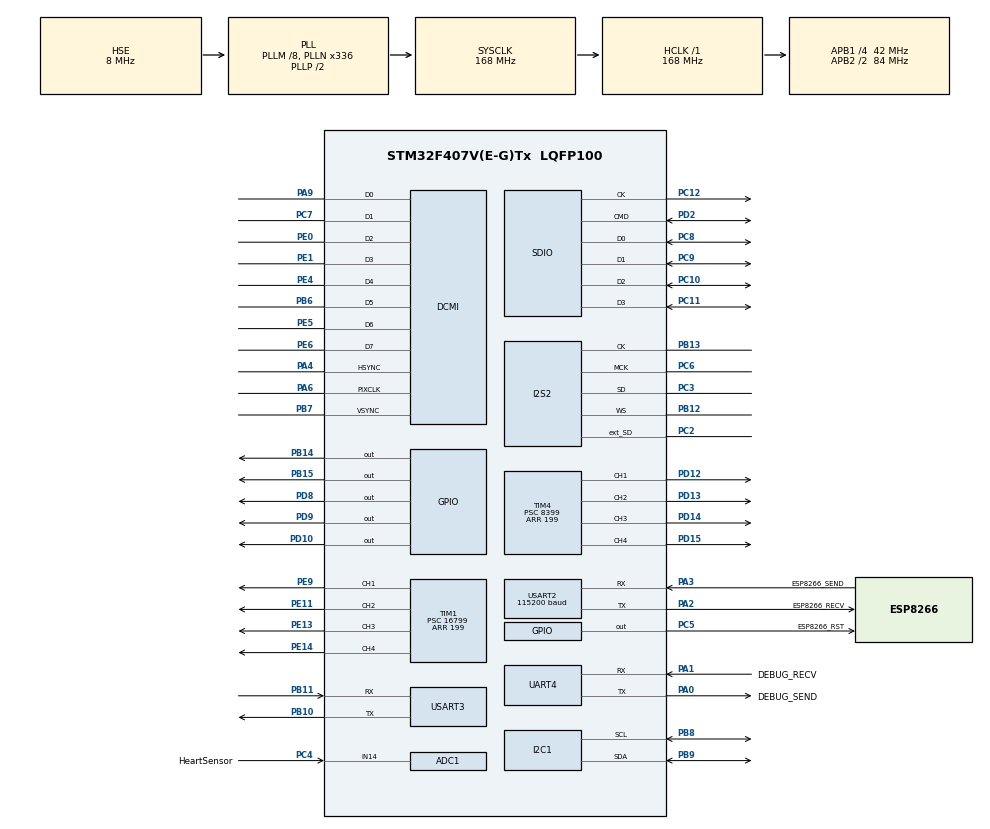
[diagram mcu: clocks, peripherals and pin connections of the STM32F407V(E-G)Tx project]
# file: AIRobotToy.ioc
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ADC1.Channel-1\#ChannelRegularConversion=ADC_CHANNEL_14
ADC1.NbrOfConversionFlag=1
ADC1.Rank-1\#ChannelRegularConversion=1
ADC1.SamplingTime-1\#ChannelRegularConversion=ADC_SAMPLETIME_3CYCLES
ADC1.master=1
Dma.DCMI.2.Direction=DMA_PERIPH_TO_MEMORY
Dma.DCMI.2.FIFOMode=DMA_FIFOMODE_DISABLE
Dma.DCMI.2.Instance=DMA2_Stream1
Dma.DCMI.2.MemDataAlignment=DMA_MDATAALIGN_WORD
Dma.DCMI.2.MemInc=DMA_MINC_ENABLE
Dma.DCMI.2.Mode=DMA_NORMAL
Dma.DCMI.2.PeriphDataAlignment=DMA_PDATAALIGN_WORD
Dma.DCMI.2.PeriphInc=DMA_PINC_DISABLE
Dma.DCMI.2.Priority=DMA_PRIORITY_LOW
Dma.Request0=USART2_RX
Dma.Request1=USART2_TX
Dma.Request2=DCMI
Dma.Request3=SDIO_RX
Dma.Request4=SDIO_TX
Dma.SDIO_RX.3.Direction=DMA_PERIPH_TO_MEMORY
Dma.SDIO_RX.3.FIFOMode=DMA_FIFOMODE_ENABLE
Dma.SDIO_RX.3.FIFOThreshold=DMA_FIFO_THRESHOLD_FULL
Dma.SDIO_RX.3.Instance=DMA2_Stream3
Dma.SDIO_RX.3.MemBurst=DMA_MBURST_INC4
Dma.SDIO_RX.3.MemDataAlignment=DMA_MDATAALIGN_WORD
Dma.SDIO_RX.3.MemInc=DMA_MINC_ENABLE
Dma.SDIO_RX.3.Mode=DMA_PFCTRL
Dma.SDIO_RX.3.PeriphBurst=DMA_PBURST_INC4
Dma.SDIO_RX.3.PeriphDataAlignment=DMA_PDATAALIGN_WORD
Dma.SDIO_RX.3.PeriphInc=DMA_PINC_DISABLE
Dma.SDIO_RX.3.Priority=DMA_PRIORITY_LOW
Dma.SDIO_TX.4.Direction=DMA_MEMORY_TO_PERIPH
Dma.SDIO_TX.4.FIFOMode=DMA_FIFOMODE_ENABLE
Dma.SDIO_TX.4.FIFOThreshold=DMA_FIFO_THRESHOLD_FULL
Dma.SDIO_TX.4.Instance=DMA2_Stream6
Dma.SDIO_TX.4.MemBurst=DMA_MBURST_INC4
Dma.SDIO_TX.4.MemDataAlignment=DMA_MDATAALIGN_WORD
Dma.SDIO_TX.4.MemInc=DMA_MINC_ENABLE
Dma.SDIO_TX.4.Mode=DMA_PFCTRL
Dma.SDIO_TX.4.PeriphBurst=DMA_PBURST_INC4
Dma.SDIO_TX.4.PeriphDataAlignment=DMA_PDATAALIGN_WORD
Dma.SDIO_TX.4.PeriphInc=DMA_PINC_DISABLE
Dma.SDIO_TX.4.Priority=DMA_PRIORITY_LOW
Dma.USART2_RX.0.Direction=DMA_PERIPH_TO_MEMORY
Dma.USART2_RX.0.FIFOMode=DMA_FIFOMODE_DISABLE
Dma.USART2_RX.0.Instance=DMA1_Stream5
Dma.USART2_RX.0.MemDataAlignment=DMA_MDATAALIGN_BYTE
Dma.USART2_RX.0.MemInc=DMA_MINC_ENABLE
Dma.USART2_RX.0.Mode=DMA_CIRCULAR
Dma.USART2_RX.0.PeriphDataAlignment=DMA_PDATAALIGN_BYTE
Dma.USART2_RX.0.PeriphInc=DMA_PINC_DISABLE
Dma.USART2_RX.0.Priority=DMA_PRIORITY_MEDIUM
Dma.USART2_TX.1.Direction=DMA_MEMORY_TO_PERIPH
Dma.USART2_TX.1.FIFOMode=DMA_FIFOMODE_DISABLE
Dma.USART2_TX.1.Instance=DMA1_Stream6
Dma.USART2_TX.1.MemDataAlignment=DMA_MDATAALIGN_BYTE
Dma.USART2_TX.1.MemInc=DMA_MINC_ENABLE
Dma.USART2_TX.1.Mode=DMA_NORMAL
Dma.USART2_TX.1.PeriphDataAlignment=DMA_PDATAALIGN_BYTE
Dma.USART2_TX.1.PeriphInc=DMA_PINC_DISABLE
Dma.USART2_TX.1.Priority=DMA_PRIORITY_MEDIUM
FATFS._CODE_PAGE=936
FATFS._USE_LFN=2
I2S2.ErrorAudioFreq=-0.27 %
I2S2.FullDuplexMode=I2S_FULLDUPLEXMODE_ENABLE
I2S2.Instance=SPI$Index
I2S2.RealAudioFreq=7.978 KHz
I2S2.VirtualMode=I2S_MODE_MASTER
Mcu.Family=STM32F4
Mcu.Name=STM32F407V(E-G)Tx
Mcu.Package=LQFP100
NVIC.DCMI_IRQn=true\:0\:0\:false\:false\:true\:true\:true
NVIC.DMA1_Stream5_IRQn=true\:0\:0\:false\:false\:true\:false\:true
NVIC.DMA1_Stream6_IRQn=true\:0\:0\:false\:false\:true\:false\:true
NVIC.DMA2_Stream1_IRQn=true\:0\:0\:false\:false\:true\:false\:true
NVIC.DMA2_Stream3_IRQn=true\:0\:0\:false\:false\:true\:false\:true
NVIC.DMA2_Stream6_IRQn=true\:0\:0\:false\:false\:true\:false\:true
NVIC.PriorityGroup=NVIC_PRIORITYGROUP_4
NVIC.SDIO_IRQn=true\:0\:0\:false\:false\:true\:true\:true
NVIC.USART2_IRQn=true\:0\:0\:false\:false\:true\:true\:true
PA0-WKUP.GPIO_Label=DEBUG_SEND
PA0-WKUP.Mode=Asynchronous
PA0-WKUP.Signal=UART4_TX
PA1.GPIO_Label=DEBUG_RECV
PA1.Mode=Asynchronous
PA1.Signal=UART4_RX
PA13.Mode=Serial_Wire
PA13.Signal=SYS_JTMS-SWDIO
PA14.Mode=Serial_Wire
PA14.Signal=SYS_JTCK-SWCLK
PA2.GPIO_Label=ESP8266_RECV
PA2.Mode=Asynchronous
PA2.Signal=USART2_TX
PA3.GPIO_Label=ESP8266_SEND
PA3.Mode=Asynchronous
PA3.Signal=USART2_RX
PA4.Mode=Slave_8_bits_External_Synchro
PA4.Signal=DCMI_HSYNC
PA6.Mode=Slave_8_bits_External_Synchro
PA6.Signal=DCMI_PIXCLK
PA9.Mode=Slave_8_bits_External_Synchro
PA9.Signal=DCMI_D0
PB10.Mode=Asynchronous
PB10.Signal=USART3_TX
PB11.Mode=Asynchronous
PB11.Signal=USART3_RX
PB12.Mode=Full_Duplex_Master
PB12.Signal=I2S2_WS
PB13.Mode=Full_Duplex_Master
PB13.Signal=I2S2_CK
PB14.PinState=GPIO_PIN_SET
PB14.Signal=GPIO_Output
PB15.PinState=GPIO_PIN_SET
PB15.Signal=GPIO_Output
PB6.Mode=Slave_8_bits_External_Synchro
PB6.Signal=DCMI_D5
PB7.Mode=Slave_8_bits_External_Synchro
PB7.Signal=DCMI_VSYNC
PB8.Mode=I2C
PB8.Signal=I2C1_SCL
PB9.Mode=I2C
PB9.Signal=I2C1_SDA
PC10.Mode=SD_4_bits_Wide_bus
PC10.Signal=SDIO_D2
PC11.Mode=SD_4_bits_Wide_bus
PC11.Signal=SDIO_D3
PC12.Mode=SD_4_bits_Wide_bus
PC12.Signal=SDIO_CK
PC2.Mode=Full_Duplex_Master
PC2.Signal=I2S2_ext_SD
PC3.Mode=Full_Duplex_Master
PC3.Signal=I2S2_SD
PC4.GPIO_Label=HeartSensor
PC4.Signal=ADCx_IN14
PC5.GPIO_Label=ESP8266_RST
PC5.Signal=GPIO_Output
PC6.Mode=Master_Clock_Activated
PC6.Signal=I2S2_MCK
PC7.Mode=Slave_8_bits_External_Synchro
PC7.Signal=DCMI_D1
PC8.Mode=SD_4_bits_Wide_bus
PC8.Signal=SDIO_D0
PC9.Mode=SD_4_bits_Wide_bus
PC9.Signal=SDIO_D1
PD10.PinState=GPIO_PIN_SET
PD10.Signal=GPIO_Output
PD12.GPIO_PuPd=GPIO_NOPULL
PD12.GPIO_Speed=GPIO_SPEED_FREQ_LOW
PD12.Signal=S_TIM4_CH1
PD13.Signal=S_TIM4_CH2
PD14.Signal=S_TIM4_CH3
PD15.Signal=S_TIM4_CH4
PD2.Mode=SD_4_bits_Wide_bus
PD2.Signal=SDIO_CMD
PD8.Signal=GPIO_Output
PD9.Signal=GPIO_Output
PE0.Mode=Slave_8_bits_External_Synchro
PE0.Signal=DCMI_D2
PE1.Mode=Slave_8_bits_External_Synchro
PE1.Signal=DCMI_D3
PE11.Signal=S_TIM1_CH2
PE13.Signal=S_TIM1_CH3
PE14.Signal=S_TIM1_CH4
PE4.Mode=Slave_8_bits_External_Synchro
PE4.Signal=DCMI_D4
PE5.Mode=Slave_8_bits_External_Synchro
PE5.Signal=DCMI_D6
PE6.Mode=Slave_8_bits_External_Synchro
PE6.Signal=DCMI_D7
PE9.Signal=S_TIM1_CH1
PH0-OSC_IN.Mode=HSE-External-Oscillator
PH0-OSC_IN.Signal=RCC_OSC_IN
PH1-OSC_OUT.Mode=HSE-External-Oscillator
PH1-OSC_OUT.Signal=RCC_OSC_OUT
ProjectManager.HeapSize=0x1000
ProjectManager.StackSize=0x4000
ProjectManager.TargetToolchain=Makefile
RCC.48MHZClocksFreq_Value=48000000
RCC.AHBFreq_Value=168000000
RCC.APB1CLKDivider=RCC_HCLK_DIV4
RCC.APB1Freq_Value=42000000
RCC.APB1TimFreq_Value=84000000
RCC.APB2CLKDivider=RCC_HCLK_DIV2
RCC.APB2Freq_Value=84000000
RCC.APB2TimFreq_Value=168000000
RCC.CortexFreq_Value=168000000
RCC.HCLKFreq_Value=168000000
RCC.HSE_VALUE=8000000
RCC.HSI_VALUE=16000000
RCC.LSE_VALUE=32768
RCC.PLLM=8
RCC.PLLN=336
RCC.PLLQ=7
RCC.PLLSourceVirtual=RCC_PLLSOURCE_HSE
RCC.SYSCLKFreq_VALUE=168000000
RCC.SYSCLKSource=RCC_SYSCLKSOURCE_PLLCLK
RCC.VCOOutputFreq_Value=336000000
SDIO.ClockDiv=4
SH.ADCx_IN14.0=ADC1_IN14,IN14
SH.S_TIM1_CH1.0=TIM1_CH1,PWM Generation1 CH1
SH.S_TIM1_CH2.0=TIM1_CH2,PWM Generation2 CH2
SH.S_TIM1_CH3.0=TIM1_CH3,PWM Generation3 CH3
SH.S_TIM1_CH4.0=TIM1_CH4,PWM Generation4 CH4
SH.S_TIM4_CH1.0=TIM4_CH1,PWM Generation1 CH1
SH.S_TIM4_CH2.0=TIM4_CH2,PWM Generation2 CH2
SH.S_TIM4_CH3.0=TIM4_CH3,PWM Generation3 CH3
SH.S_TIM4_CH4.0=TIM4_CH4,PWM Generation4 CH4
TIM1.AutoReloadPreload=TIM_AUTORELOAD_PRELOAD_ENABLE
TIM1.Channel-PWM\ Generation1\ CH1=TIM_CHANNEL_1
TIM1.Channel-PWM\ Generation2\ CH2=TIM_CHANNEL_2
TIM1.Channel-PWM\ Generation3\ CH3=TIM_CHANNEL_3
TIM1.Channel-PWM\ Generation4\ CH4=TIM_CHANNEL_4
TIM1.Period=199
TIM1.Prescaler=16799
TIM1.Pulse-PWM\ Generation4\ CH4=5
TIM4.AutoReloadPreload=TIM_AUTORELOAD_PRELOAD_ENABLE
TIM4.Channel-PWM\ Generation1\ CH1=TIM_CHANNEL_1
TIM4.Channel-PWM\ Generation2\ CH2=TIM_CHANNEL_2
TIM4.Channel-PWM\ Generation3\ CH3=TIM_CHANNEL_3
TIM4.Channel-PWM\ Generation4\ CH4=TIM_CHANNEL_4
TIM4.Period=199
TIM4.Prescaler=8399
TIM4.Pulse-PWM\ Generation1\ CH1=10
TIM7.AutoReloadPreload=TIM_AUTORELOAD_PRELOAD_DISABLE
TIM7.Period=1
TIM7.Prescaler=83
UART4.VirtualMode=Asynchronous
USART2.BaudRate=115200
USART2.VirtualMode=VM_ASYNC
USART3.VirtualMode=VM_ASYNC
VP_FATFS_VS_SDIO.Mode=SDIO
VP_TIM1_VS_ClockSourceINT.Mode=Internal
VP_TIM4_VS_ClockSourceINT.Mode=Internal
VP_TIM7_VS_ClockSourceINT.Mode=Enable_Timer
board=custom

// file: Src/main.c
/* USER CODE BEGIN Header */
/**
  ******************************************************************************
  * @file           : main.c
  * @brief          : Main program body
  ******************************************************************************
  * @attention
  *
  * <h2><center>&copy; Copyright (c) 2020 STMicroelectronics.
  * All rights reserved.</center></h2>
  *
  * This software component is licensed by ST under BSD 3-Clause license,
  * the "License"; You may not use this file except in compliance with the
  * License. You may obtain a copy of the License at:
  *                        opensource.org/licenses/BSD-3-Clause
  *
  ******************************************************************************
  */
/* USER CODE END Header */

#include "main.h"
#include "adc.h"
#include "dcmi.h"
#include "dma.h"
#include "fatfs.h"
#include "i2c.h"
#include "i2s.h"
#include "sdio.h"
#include "tim.h"
#include "usart.h"
#include "gpio.h"

/* USER CODE BEGIN Includes */
#include "network.h"
#include "log.h"
#include "delay.h"
#include "dht11.h"
#include "ds18b20.h"
#include "mw_wifi.h"
#include "mw_mqtt.h"
#include "wm8978.h"
#include "mw_file.h"
/* USER CODE END Includes */

void SystemClock_Config(void);

/* USER CODE BEGIN 0 */

void ADC_AN14_Init(void)
{
    /* 设置ADC功能对应的GPIO端口 */
    RCC->AHB1ENR |= 1 << 0;
    GPIOA->MODER &= ~(3 << (14 * 2));
    GPIOA->MODER |= 3 << (14 * 2);

    /* 配置ADC采样模式 */
    RCC->APB2ENR |= 1 << 8;     //使能ADC模块时钟    ADC1->CR1 &= ~(3 << 24);    //12位分辨率    ADC1->CR1 &= ~(1 << 8);     //非扫描模�?    ADC1->CR2 &= ~(3 << 28);    //禁止外部触发    ADC1->CR2 &= ~(1 << 11);    //右对�?    ADC1->CR2 &= ~(1 << 1);     //单次转换    ADC->CCR &= ~(3 << 16);
    ADC->CCR |= 2 << 16;        //6分频    ADC1->SMPR2 &= ~(0x07 << 6);
    ADC1->SMPR1 |= 0x07 << 12;   //480采样周期    ADC1->SQR1 &= ~(0x0f << 20); //1次转�?    ADC1->SQR3 &= ~(0x1f << 0);
    ADC1->SQR3 |= 14 << 0;     //转换的�?�道为�?�道14
    /* 使能ADC */
    ADC1->CR2 |= 1 << 0;          //�?启ADC
}

uint16_t Get_ADC_1_CH2(void)
{
    uint8_t i,j;
    uint16_t buff[10] = {0};
    uint16_t temp;

    for(i = 0; i < 10; i ++)
    {
        /* �?始转�? */
        ADC1->CR2 |= 1 << 30;

        /* 等待转换结束 */
        while( !(ADC1->SR & (1 << 1)) )
        {
            /* 等待转换接收 */
        }
        buff[i] = ADC1->DR;    //读取转换结果
    }

    /* 把读取�?�的数据按从小到大的排列 */
    for(i = 0; i < 9; i++)
    {
        for(j = 0 ; j < 9-i; j++)
        {
            if(buff[j] > buff[j+1])
            {
                temp = buff[j];
                buff[j] = buff[j+1];
                buff[j+1] = temp;
            }
        }
    }

    /* 求平均�?? */
    temp = 0;
    for(i = 1; i < 9; i++)
    {
        temp += buff[i];
    }

    return temp;
}

uint16_t Get_ADC_1_CH14(void)
{
    HAL_ADC_Start(&hadc1);

    uint8_t i,j;
    uint16_t buff[10] = {0};
    uint16_t temp;

    for(i = 0; i < 10; i ++)
    {
        /* �?始转�? */
        HAL_ADC_Start(&hadc1);

        /* 等待转换结束 */
        HAL_ADC_PollForConversion(&hadc1, 0xFFFF);

        buff[i] = HAL_ADC_GetValue(&hadc1);    //读取转换结果
    }

    /* 把读取�?�的数据按从小到大的排列 */
    for(i = 0; i < 9; i++)
    {
        for(j = 0 ; j < 9-i; j++)
        {
            if(buff[j] > buff[j+1])
            {
                temp = buff[j];
                buff[j] = buff[j+1];
                buff[j+1] = temp;
            }
        }
    }

    /* 求平均�?? */
    temp = 0;
    for(i = 1; i < 9; i++)
    {
        temp += buff[i];
    }

    return temp/8;
}

int Print_Wave(void)
{
    int temp, i;

    temp = Get_ADC_1_CH14() / 30;   // 缩小�?个�?�数
    //printf("temp:%d\r\n", temp);
    for (i = 0; i < temp; i++)
        printf("*");

    printf ("\r\n");
    return temp/8;
}

void test_dht11()
{
    uint8_t temperature;
    uint8_t humidity;
    char buffer[10] = {0};

    // 初始化DHT11温湿度传感器
    while(DHT11_Init()) {
        LOG(EERROR, "DHT11 init fail");
        HAL_Delay(1000);
    }

    // 设置网络传输的�?�度
    net.begin(115200);
    // 连接AP热点
    net.connect_ap("AIBIT", "12348765");
    // 连接TCP服务�?
    net.connect_server("TCP", "127.0.0.1", 9999);

    while(1) {
        // 读取温湿度信�?
        DHT11_Read_Data(&temperature, &humidity);
        snprintf(buffer, sizeof(buffer), "%d:%d", temperature, humidity);
        // 发�?�温湿度信息到服务器
        net.send(buffer, strlen(buffer));
        LOG(EDEBUG, "t:%d, h:%d", temperature, humidity);
        HAL_Delay(1000);
    }
}
/* USER CODE END 0 */

int main(void)
{
  /* USER CODE BEGIN 1 */
    uint8_t temperature;
	uint8_t humidity;
    char buffer[20] = {0};
  /* USER CODE END 1 */

  /* MCU Configuration--------------------------------------------------------*/

  /* Reset of all peripherals, Initializes the Flash interface and the Systick. */
  HAL_Init();

  /* Configure the system clock */
  SystemClock_Config();

  /* Initialize all configured peripherals */
  MX_GPIO_Init();
  MX_DMA_Init();
  MX_USART2_UART_Init();
  MX_UART4_Init();
  MX_TIM7_Init();
  MX_DCMI_Init();
  MX_SDIO_SD_Init();
  MX_USART3_UART_Init();
  MX_FATFS_Init();
  MX_ADC1_Init();
  MX_I2C1_Init();
  MX_TIM4_Init();
  MX_TIM1_Init();
  MX_I2S2_Init();
  /* USER CODE BEGIN 2 */
  HAL_TIM_PWM_Start(&htim1, TIM_CHANNEL_1);
  HAL_TIM_PWM_Start(&htim1, TIM_CHANNEL_2);
  HAL_TIM_PWM_Start(&htim1, TIM_CHANNEL_3);
  HAL_TIM_PWM_Start(&htim1, TIM_CHANNEL_4);
  HAL_TIM_PWM_Start(&htim4, TIM_CHANNEL_1);
  HAL_TIM_PWM_Start(&htim4, TIM_CHANNEL_2);
  HAL_TIM_PWM_Start(&htim4, TIM_CHANNEL_3);
  HAL_TIM_PWM_Start(&htim4, TIM_CHANNEL_4);
  int pwmMinVal = 5;
  int pwmMaxVal = 25;
  int pwmStep = 1;
  int pwmVal = pwmMinVal;
  int pwmFlag = 1;
  while(1) {
      HAL_Delay(50);
      __HAL_TIM_SetCompare(&htim1, TIM_CHANNEL_1, pwmVal);
      __HAL_TIM_SetCompare(&htim1, TIM_CHANNEL_2, pwmVal);
      __HAL_TIM_SetCompare(&htim1, TIM_CHANNEL_3, pwmVal);
      __HAL_TIM_SetCompare(&htim1, TIM_CHANNEL_4, pwmVal);
      __HAL_TIM_SetCompare(&htim4, TIM_CHANNEL_1, pwmVal);
      __HAL_TIM_SetCompare(&htim4, TIM_CHANNEL_2, pwmVal);
      __HAL_TIM_SetCompare(&htim4, TIM_CHANNEL_3, pwmVal);
      __HAL_TIM_SetCompare(&htim4, TIM_CHANNEL_4, pwmVal);
      if (pwmFlag) pwmVal += pwmStep;
      else pwmVal -= pwmStep;
      if (pwmVal >= pwmMaxVal) pwmFlag = 0;
      if (pwmVal <= pwmMinVal) pwmFlag = 1;
  }

  extern void factory_test();
  factory_test();

  /* USER CODE END 2 */

  /* Infinite loop */
  /* USER CODE BEGIN WHILE */
    uint32_t value = 0;
    float vol = 0;
    while (1)
    {
    /* USER CODE END WHILE */

    /* USER CODE BEGIN 3 */
        //HAL_ADC_Start(&hadc1);
        //value = HAL_ADC_GetValue(&hadc1);
        //printf("value:%d\r\n", value);
        #if 1
        int vol = Print_Wave();
        //snprintf(buffer, sizeof(buffer), "%d", vol);
        //net.send(buffer, strlen(buffer)-1);
        HAL_Delay(50);
        #else
        HAL_ADC_Start(&hadc1);                      // 启动ADC
        HAL_ADC_PollForConversion(&hadc1, 0xFFFF);  // 等待AD转换结束
        value = HAL_ADC_GetValue(&hadc1);           // 获取转换的结�?
        vol = (float)(value *3.3/4096);             // 把电压�?�转换为数�??
        //snprintf(buffer, sizeof(buffer), "%.2f", vol);
        //net.send(buffer, strlen(buffer)-1);
        printf("%.2f\r\n",vol);
        //for (int i=0; i < (int)(vol*100)-100; i++) {
        //    printf("*");
        //}
        //printf("\r\n");
        HAL_Delay(50);
        #endif
        #if 0
        DHT11_Read_Data(&temperature, &humidity);
        // 整型转字符串
        snprintf(buffer, 20, "%d", humidity);
        temperature = DS18B20_Get_Temp()/10;
        if(temperature<0) {
            temperature = -temperature;	 //转为正数
        }
        snprintf(buffer, 20, "%d", temperature);

        //net.send(buffer, strlen(buffer));
        mqtt.publish_data("temp", buffer, 0);
        HAL_Delay(1000);
        #endif
    }
  /* USER CODE END 3 */
}

void SystemClock_Config(void)
{
  RCC_OscInitTypeDef RCC_OscInitStruct = {0};
  RCC_ClkInitTypeDef RCC_ClkInitStruct = {0};
  RCC_PeriphCLKInitTypeDef PeriphClkInitStruct = {0};

  /** Configure the main internal regulator output voltage
  */
  __HAL_RCC_PWR_CLK_ENABLE();
  __HAL_PWR_VOLTAGESCALING_CONFIG(PWR_REGULATOR_VOLTAGE_SCALE1);
  /** Initializes the CPU, AHB and APB busses clocks
  */
  RCC_OscInitStruct.OscillatorType = RCC_OSCILLATORTYPE_HSE;
  RCC_OscInitStruct.HSEState = RCC_HSE_ON;
  RCC_OscInitStruct.PLL.PLLState = RCC_PLL_ON;
  RCC_OscInitStruct.PLL.PLLSource = RCC_PLLSOURCE_HSE;
  RCC_OscInitStruct.PLL.PLLM = 8;
  RCC_OscInitStruct.PLL.PLLN = 336;
  RCC_OscInitStruct.PLL.PLLP = RCC_PLLP_DIV2;
  RCC_OscInitStruct.PLL.PLLQ = 7;
  if (HAL_RCC_OscConfig(&RCC_OscInitStruct) != HAL_OK)
  {
    Error_Handler();
  }
  /** Initializes the CPU, AHB and APB busses clocks
  */
  RCC_ClkInitStruct.ClockType = RCC_CLOCKTYPE_HCLK|RCC_CLOCKTYPE_SYSCLK
                              |RCC_CLOCKTYPE_PCLK1|RCC_CLOCKTYPE_PCLK2;
  RCC_ClkInitStruct.SYSCLKSource = RCC_SYSCLKSOURCE_PLLCLK;
  RCC_ClkInitStruct.AHBCLKDivider = RCC_SYSCLK_DIV1;
  RCC_ClkInitStruct.APB1CLKDivider = RCC_HCLK_DIV4;
  RCC_ClkInitStruct.APB2CLKDivider = RCC_HCLK_DIV2;

  if (HAL_RCC_ClockConfig(&RCC_ClkInitStruct, FLASH_LATENCY_5) != HAL_OK)
  {
    Error_Handler();
  }
  PeriphClkInitStruct.PeriphClockSelection = RCC_PERIPHCLK_I2S;
  PeriphClkInitStruct.PLLI2S.PLLI2SN = 192;
  PeriphClkInitStruct.PLLI2S.PLLI2SR = 2;
  if (HAL_RCCEx_PeriphCLKConfig(&PeriphClkInitStruct) != HAL_OK)
  {
    Error_Handler();
  }
}

/* USER CODE BEGIN 4 */
void USART2_Init(int32_t speed)
{
  huart2.Instance = USART2;
  huart2.Init.BaudRate = speed;
  huart2.Init.WordLength = UART_WORDLENGTH_8B;
  huart2.Init.StopBits = UART_STOPBITS_1;
  huart2.Init.Parity = UART_PARITY_NONE;
  huart2.Init.Mode = UART_MODE_TX_RX;
  huart2.Init.HwFlowCtl = UART_HWCONTROL_NONE;
  huart2.Init.OverSampling = UART_OVERSAMPLING_16;
  if (HAL_UART_Init(&huart2) != HAL_OK)
  {
    Error_Handler();
  }
}
void UART4_Init(int32_t speed)
{
  huart4.Instance = UART4;
  huart4.Init.BaudRate = speed;
  huart4.Init.WordLength = UART_WORDLENGTH_8B;
  huart4.Init.StopBits = UART_STOPBITS_1;
  huart4.Init.Parity = UART_PARITY_NONE;
  huart4.Init.Mode = UART_MODE_TX_RX;
  huart4.Init.HwFlowCtl = UART_HWCONTROL_NONE;
  huart4.Init.OverSampling = UART_OVERSAMPLING_16;
  if (HAL_UART_Init(&huart4) != HAL_OK)
  {
    Error_Handler();
  }
}
/* USER CODE END 4 */

void Error_Handler(void)
{
  /* USER CODE BEGIN Error_Handler_Debug */
  /* User can add his own implementation to report the HAL error return state */
  LOG(EERROR, "Error_Handler");
  /* USER CODE END Error_Handler_Debug */
}

/************************ (C) COPYRIGHT STMicroelectronics *****END OF FILE****/
